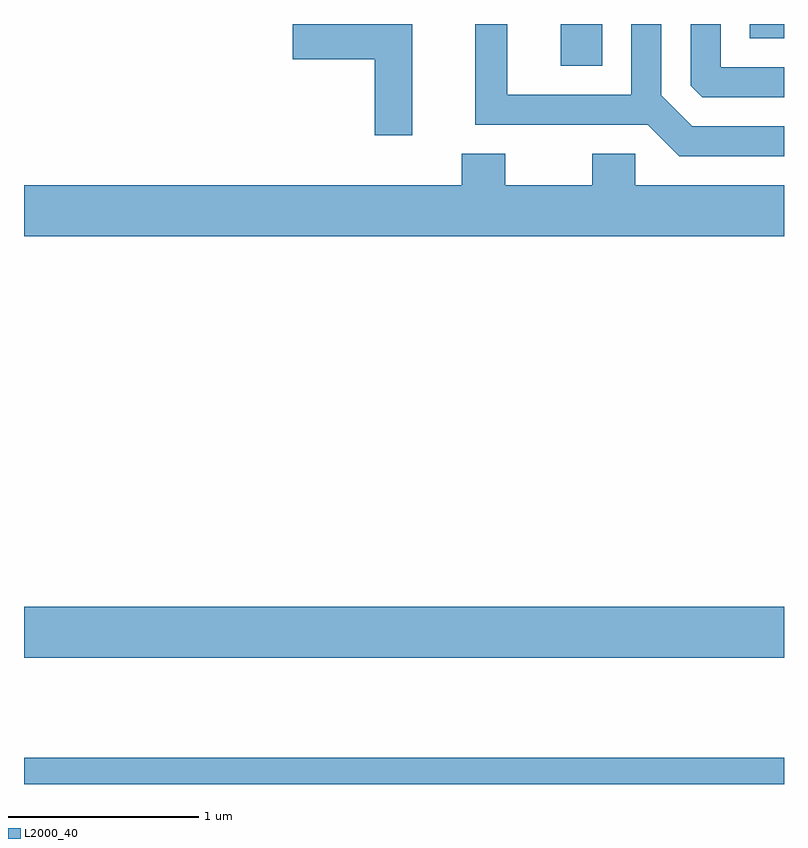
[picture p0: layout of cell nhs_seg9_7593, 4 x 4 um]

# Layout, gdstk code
import gdstk
lib = gdstk.Library(unit=1e-6, precision=1e-09)
def R(c, l, rs):  # rectangles x0, y0, x1, y1
    for r in rs: c.add(gdstk.rectangle(r[:2], r[2:], *l))
def P(c, l, *ps):  # polygons
    for p in ps: c.add(gdstk.Polygon(p, *l))
L2000_40 = (2000, 40)

nhs_seg9_7593 = lib.new_cell('nhs_seg9_7593')
R(nhs_seg9_7593, L2000_40, [(409.611,2044.432,413.611,2044.569), (409.611,2045.096,413.611,2045.364), (412.436,2048.211,412.654,2048.432), (413.431,2048.356,413.611,2048.432)])
P(nhs_seg9_7593, L2000_40, [(413.611,2047.894),(413.127,2047.894),(412.964,2048.057),(412.964,2048.432),(412.806,2048.432),(412.806,2048.059),(412.154,2048.059),(412.154,2048.432),(411.986,2048.432),(411.986,2047.901),(412.894,2047.901),(413.059,2047.736),(413.611,2047.736)],
  [(411.654,2048.432),(411.026,2048.432),(411.026,2048.246),(411.456,2048.246),(411.456,2047.846),(411.654,2047.846)],
  [(413.611,2048.204),(413.279,2048.204),(413.279,2048.432),(413.121,2048.432),(413.121,2048.106),(413.182,2048.046),(413.611,2048.046)],
  [(413.611,2047.584),(412.829,2047.584),(412.829,2047.749),(412.601,2047.749),(412.601,2047.584),(412.144,2047.584),(412.144,2047.749),(411.916,2047.749),(411.916,2047.584),(409.611,2047.584),(409.611,2047.316),(413.611,2047.316)])

lib.write_gds('nhs_seg9_7593.gds')
